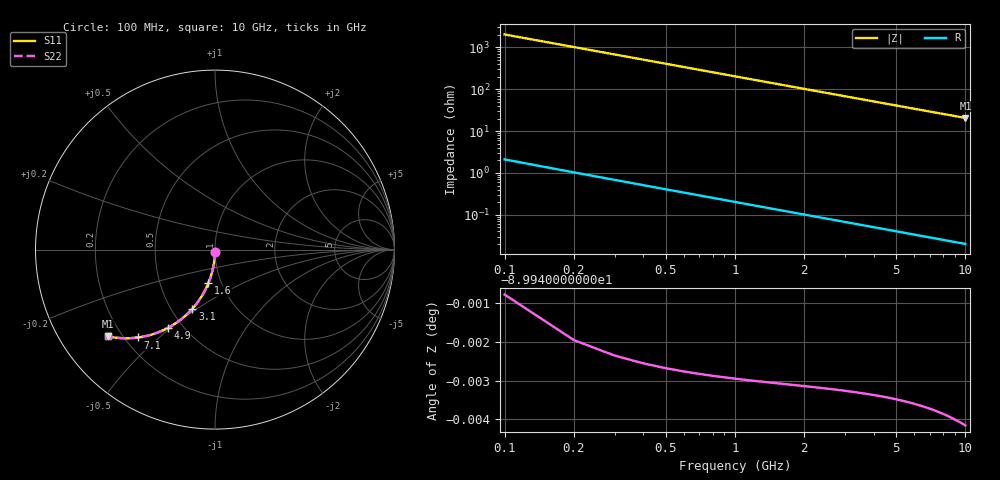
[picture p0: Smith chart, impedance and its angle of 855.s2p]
# Hz S RI R 50.00
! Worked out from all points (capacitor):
!   100 points, 100 MHz to 10 GHz, reference 50 ohm
!   read as one part in shunt: C = 780 fF near 100 MHz
!   lowest |Z| = 20.7 ohm at 10 GHz (marker M1)
!   S11 on the Smith chart (normalised r, x): 100 MHz: 1.00, -0.02; 1.6 GHz: 0.87, -0.34; 3.1 GHz: 0.64, -0.48; 4.9 GHz: 0.41, -0.49; 7.1 GHz: 0.25, -0.43; 10 GHz: 0.15, -0.35
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1e8  -0.000146 -0.0122  0.9998 -0.0123  0.9998 -0.0123  -0.000146 -0.0122
2e8  -0.000609 -0.0244  0.9994 -0.0246  0.9994 -0.0246  -0.000609 -0.0244
3e8  -0.00137 -0.0365  0.9986 -0.0369  0.9986 -0.0369  -0.00137 -0.0365
4e8  -0.00243 -0.0486  0.9975 -0.0492  0.9975 -0.0492  -0.00243 -0.0486
5e8  -0.00378 -0.0607  0.9962 -0.0614  0.9962 -0.0614  -0.00378 -0.0607
6e8  -0.00543 -0.0727  0.9945 -0.0735  0.9945 -0.0735  -0.00543 -0.0727
7e8  -0.00737 -0.0847  0.9926 -0.0856  0.9926 -0.0856  -0.00737 -0.0847
9e8  -0.0121 -0.1083  0.9879 -0.1095  0.9879 -0.1095  -0.0121 -0.1083
1.2e9  -0.0213 -0.143  0.9787 -0.1446  0.9787 -0.1446  -0.0213 -0.143
1.6e9  -0.0371 -0.1875  0.9628 -0.1897  0.9628 -0.1897  -0.0371 -0.1875
1.8e9  -0.0465 -0.2089  0.9535 -0.2113  0.9535 -0.2113  -0.0465 -0.2089
2.4e9  -0.0796 -0.2687  0.9203 -0.2719  0.9203 -0.2719  -0.0796 -0.2687
3.1e9  -0.126 -0.3293  0.874 -0.3334  0.874 -0.3334  -0.126 -0.3293
3.4e9  -0.1477 -0.352  0.8523 -0.3566  0.8523 -0.3566  -0.1477 -0.352
4.1e9  -0.201 -0.3975  0.7989 -0.403  0.7989 -0.403  -0.201 -0.3975
4.9e9  -0.2641 -0.437  0.7359 -0.4437  0.7359 -0.4437  -0.2641 -0.437
5.1e9  -0.2798 -0.445  0.7201 -0.4519  0.7201 -0.4519  -0.2798 -0.445
5.9e9  -0.3418 -0.4698  0.6581 -0.4778  0.6581 -0.4778  -0.3418 -0.4698
6.7e9  -0.4008 -0.485  0.5991 -0.4941  0.5991 -0.4941  -0.4008 -0.485
7.1e9  -0.4289 -0.4896  0.5711 -0.4993  0.5711 -0.4993  -0.4289 -0.4896
8.4e9  -0.5121 -0.4936  0.4878 -0.5051  0.4878 -0.5051  -0.5121 -0.4936
1e10  -0.5976 -0.4829  0.4022 -0.4968  0.4022 -0.4968  -0.5976 -0.4829
